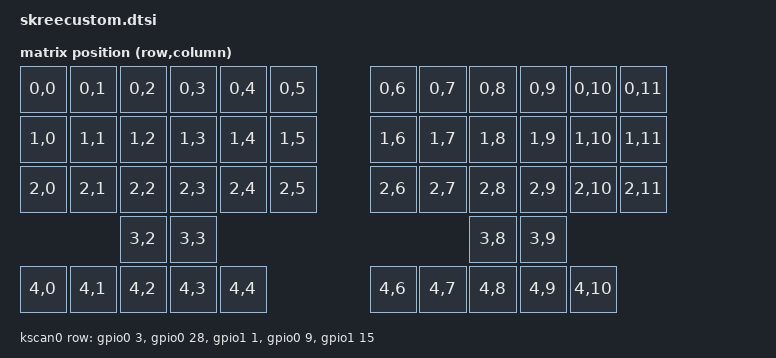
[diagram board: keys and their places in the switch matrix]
 #include <dt-bindings/zmk/matrix_transform.h>
 #include "skreecustom-layouts.dtsi"

//&pinctrl {
//    spi0_default: spi0_default {
//        group1 {
//            psels = <NRF_PSEL(SPIM_SCK, 1, 3)>,
//                <NRF_PSEL(SPIM_MOSI, 1, 5)>;
//        };
//    };

//    spi0_sleep: spi0_sleep {
//        group1 {
//            psels = <NRF_PSEL(SPIM_SCK, 1, 3)>,
//               <NRF_PSEL(SPIM_MOSI, 1, 5)>;
//            low-power-enable;
//        };
//    };
//};

//&spi0 {
//    status = "okay";
//    compatible = "nordic,nrf-spim";
//    pinctrl-0 = <&spi0_default>;
//    pinctrl-1 = <&spi0_sleep>;
//    pinctrl-names = "default", "sleep";
//    cs-gpios = <&gpio1 13 GPIO_ACTIVE_LOW>;

//    shifter: 595@0 {
//        compatible = "zmk,gpio-595";
//        status = "okay";
//        gpio-controller;
//        spi-max-frequency = <200000>;
//        reg = <0>;
//        #gpio-cells = <2>;
//        ngpios = <8>;
//    };
//};

 / {
     chosen {
        zmk,kscan = &kscan0;
        zmk,physical-layout = &physical_layout0;
    };
 
     default_transform: keymap_transform {
         compatible = "zmk,matrix-transform";
         columns = <12>;
         rows = <5>;

         map = <
    RC(0,0) RC(0,1) RC(0,2) RC(0,3) RC(0,4) RC(0,5)		    RC(0,6) RC(0,7) RC(0,8) RC(0,9) RC(0,10) RC(0,11)
    RC(1,0) RC(1,1) RC(1,2) RC(1,3) RC(1,4) RC(1,5)		    RC(1,6) RC(1,7) RC(1,8) RC(1,9) RC(1,10) RC(1,11)
    RC(2,0) RC(2,1) RC(2,2) RC(2,3) RC(2,4) RC(2,5)		    RC(2,6) RC(2,7) RC(2,8) RC(2,9) RC(2,10) RC(2,11)
                    RC(3,2) RC(3,3)		                                    RC(3,8) RC(3,9)
    RC(4,0) RC(4,1) RC(4,2) RC(4,3) RC(4,4)                 RC(4,6) RC(4,7) RC(4,8) RC(4,9) RC(4,10)
         >;
    };

//     kscan0: kscan {
//        compatible = "zmk,kscan-gpio-matrix";
//        wakeup-source;
//        diode-direction = "col2row";
//        row-gpios
//            = <&gpio1 15 (GPIO_ACTIVE_HIGH | GPIO_PULL_DOWN)> //r1-7 1.15 0.28 1.01 0.09 0.10 1.11 1.07thumbs
//            , <&gpio0 28 (GPIO_ACTIVE_HIGH | GPIO_PULL_DOWN)> 
//            , <&gpio1 1  (GPIO_ACTIVE_HIGH | GPIO_PULL_DOWN)> 
//            , <&gpio0 9  (GPIO_ACTIVE_HIGH | GPIO_PULL_DOWN)> 
//          , <&gpio0 10 (GPIO_ACTIVE_HIGH | GPIO_PULL_DOWN)> 
//          , <&gpio1 11 (GPIO_ACTIVE_HIGH | GPIO_PULL_DOWN)> 
//            , <&gpio1 7  (GPIO_ACTIVE_HIGH | GPIO_PULL_DOWN)> 
//            ;
//  
//  };
    
    kscan0: kscan_0 {
        compatible = "zmk,kscan-gpio-matrix";
        wakeup-source;        
        diode-direction = "col2row";
        row-gpios
            = <&gpio0 3 (GPIO_ACTIVE_HIGH | GPIO_PULL_DOWN)> //r1-7 0.03 0.28 1.01 0.09 0.10 1.11 1.15thumbs
            , <&gpio0 28 (GPIO_ACTIVE_HIGH | GPIO_PULL_DOWN)> 
            , <&gpio1 1 (GPIO_ACTIVE_HIGH | GPIO_PULL_DOWN)> 
            , <&gpio0 9 (GPIO_ACTIVE_HIGH | GPIO_PULL_DOWN)> 
//          , <&gpio0 10 (GPIO_ACTIVE_HIGH | GPIO_PULL_DOWN)> 
//          , <&gpio1 11 (GPIO_ACTIVE_HIGH | GPIO_PULL_DOWN)> 
            , <&gpio1 15 (GPIO_ACTIVE_HIGH | GPIO_PULL_DOWN)> 
            ;

    };
};
